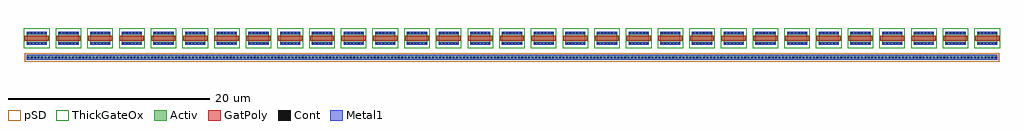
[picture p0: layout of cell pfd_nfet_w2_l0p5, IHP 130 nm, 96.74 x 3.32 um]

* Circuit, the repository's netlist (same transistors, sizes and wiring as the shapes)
* extracted by klt extract --deck sg13cmos5l

* cell pfd_nfet_w2_l0p5
* pin vsubs
.SUBCKT pfd_nfet_w2_l0p5 vsubs
* device instance $1 r0 *1 1.89,3.11 nfet
X$1 \$64 \$2 \$3 vsubs sg13_hv_nmos L=0.5U W=2U AS=0.8P AD=0.8P PS=4.8U PD=4.8U
* device instance $2 r0 *1 5.03,3.11 nfet
X$2 \$65 \$4 \$5 vsubs sg13_hv_nmos L=0.5U W=2U AS=0.8P AD=0.8P PS=4.8U PD=4.8U
* device instance $3 r0 *1 8.17,3.11 nfet
X$3 \$66 \$6 \$7 vsubs sg13_hv_nmos L=0.5U W=2U AS=0.8P AD=0.8P PS=4.8U PD=4.8U
* device instance $4 r0 *1 11.31,3.11 nfet
X$4 \$67 \$8 \$9 vsubs sg13_hv_nmos L=0.5U W=2U AS=0.8P AD=0.8P PS=4.8U PD=4.8U
* device instance $5 r0 *1 14.45,3.11 nfet
X$5 \$68 \$10 \$11 vsubs sg13_hv_nmos L=0.5U W=2U AS=0.8P AD=0.8P PS=4.8U
+ PD=4.8U
* device instance $6 r0 *1 17.59,3.11 nfet
X$6 \$69 \$12 \$13 vsubs sg13_hv_nmos L=0.5U W=2U AS=0.8P AD=0.8P PS=4.8U
+ PD=4.8U
* device instance $7 r0 *1 20.73,3.11 nfet
X$7 \$70 \$14 \$15 vsubs sg13_hv_nmos L=0.5U W=2U AS=0.8P AD=0.8P PS=4.8U
+ PD=4.8U
* device instance $8 r0 *1 23.87,3.11 nfet
X$8 \$71 \$16 \$17 vsubs sg13_hv_nmos L=0.5U W=2U AS=0.8P AD=0.8P PS=4.8U
+ PD=4.8U
* device instance $9 r0 *1 27.01,3.11 nfet
X$9 \$72 \$18 \$19 vsubs sg13_hv_nmos L=0.5U W=2U AS=0.8P AD=0.8P PS=4.8U
+ PD=4.8U
* device instance $10 r0 *1 30.15,3.11 nfet
X$10 \$73 \$20 \$21 vsubs sg13_hv_nmos L=0.5U W=2U AS=0.8P AD=0.8P PS=4.8U
+ PD=4.8U
* device instance $11 r0 *1 33.29,3.11 nfet
X$11 \$74 \$22 \$23 vsubs sg13_hv_nmos L=0.5U W=2U AS=0.8P AD=0.8P PS=4.8U
+ PD=4.8U
* device instance $12 r0 *1 36.43,3.11 nfet
X$12 \$75 \$24 \$25 vsubs sg13_hv_nmos L=0.5U W=2U AS=0.8P AD=0.8P PS=4.8U
+ PD=4.8U
* device instance $13 r0 *1 39.57,3.11 nfet
X$13 \$76 \$26 \$27 vsubs sg13_hv_nmos L=0.5U W=2U AS=0.8P AD=0.8P PS=4.8U
+ PD=4.8U
* device instance $14 r0 *1 42.71,3.11 nfet
X$14 \$77 \$28 \$29 vsubs sg13_hv_nmos L=0.5U W=2U AS=0.8P AD=0.8P PS=4.8U
+ PD=4.8U
* device instance $15 r0 *1 45.85,3.11 nfet
X$15 \$78 \$30 \$31 vsubs sg13_hv_nmos L=0.5U W=2U AS=0.8P AD=0.8P PS=4.8U
+ PD=4.8U
* device instance $16 r0 *1 48.99,3.11 nfet
X$16 \$79 \$32 \$33 vsubs sg13_hv_nmos L=0.5U W=2U AS=0.8P AD=0.8P PS=4.8U
+ PD=4.8U
* device instance $17 r0 *1 52.13,3.11 nfet
X$17 \$80 \$34 \$35 vsubs sg13_hv_nmos L=0.5U W=2U AS=0.8P AD=0.8P PS=4.8U
+ PD=4.8U
* device instance $18 r0 *1 55.27,3.11 nfet
X$18 \$81 \$36 \$37 vsubs sg13_hv_nmos L=0.5U W=2U AS=0.8P AD=0.8P PS=4.8U
+ PD=4.8U
* device instance $19 r0 *1 58.41,3.11 nfet
X$19 \$82 \$38 \$39 vsubs sg13_hv_nmos L=0.5U W=2U AS=0.8P AD=0.8P PS=4.8U
+ PD=4.8U
* device instance $20 r0 *1 61.55,3.11 nfet
X$20 \$83 \$40 \$41 vsubs sg13_hv_nmos L=0.5U W=2U AS=0.8P AD=0.8P PS=4.8U
+ PD=4.8U
* device instance $21 r0 *1 64.69,3.11 nfet
X$21 \$84 \$42 \$43 vsubs sg13_hv_nmos L=0.5U W=2U AS=0.8P AD=0.8P PS=4.8U
+ PD=4.8U
* device instance $22 r0 *1 67.83,3.11 nfet
X$22 \$85 \$44 \$45 vsubs sg13_hv_nmos L=0.5U W=2U AS=0.8P AD=0.8P PS=4.8U
+ PD=4.8U
* device instance $23 r0 *1 70.97,3.11 nfet
X$23 \$86 \$46 \$47 vsubs sg13_hv_nmos L=0.5U W=2U AS=0.8P AD=0.8P PS=4.8U
+ PD=4.8U
* device instance $24 r0 *1 74.11,3.11 nfet
X$24 \$87 \$48 \$49 vsubs sg13_hv_nmos L=0.5U W=2U AS=0.8P AD=0.8P PS=4.8U
+ PD=4.8U
* device instance $25 r0 *1 77.25,3.11 nfet
X$25 \$88 \$50 \$51 vsubs sg13_hv_nmos L=0.5U W=2U AS=0.8P AD=0.8P PS=4.8U
+ PD=4.8U
* device instance $26 r0 *1 80.39,3.11 nfet
X$26 \$89 \$52 \$53 vsubs sg13_hv_nmos L=0.5U W=2U AS=0.8P AD=0.8P PS=4.8U
+ PD=4.8U
* device instance $27 r0 *1 83.53,3.11 nfet
X$27 \$90 \$54 \$55 vsubs sg13_hv_nmos L=0.5U W=2U AS=0.8P AD=0.8P PS=4.8U
+ PD=4.8U
* device instance $28 r0 *1 86.67,3.11 nfet
X$28 \$91 \$56 \$57 vsubs sg13_hv_nmos L=0.5U W=2U AS=0.8P AD=0.8P PS=4.8U
+ PD=4.8U
* device instance $29 r0 *1 89.81,3.11 nfet
X$29 \$92 \$58 \$59 vsubs sg13_hv_nmos L=0.5U W=2U AS=0.8P AD=0.8P PS=4.8U
+ PD=4.8U
* device instance $30 r0 *1 92.95,3.11 nfet
X$30 \$93 \$60 \$61 vsubs sg13_hv_nmos L=0.5U W=2U AS=0.8P AD=0.8P PS=4.8U
+ PD=4.8U
* device instance $31 r0 *1 96.09,3.11 nfet
X$31 \$94 \$62 \$63 vsubs sg13_hv_nmos L=0.5U W=2U AS=0.8P AD=0.8P PS=4.8U
+ PD=4.8U
.ENDS pfd_nfet_w2_l0p5

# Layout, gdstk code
import gdstk
lib = gdstk.Library(unit=1e-6, precision=1e-09)
def R(c, l, rs):  # rectangles x0, y0, x1, y1
    for r in rs: c.add(gdstk.rectangle(r[:2], r[2:], *l))
def A(c, l, x, y, w, h, nx, ny, dx, dy):  # array of equal rectangles
    R(c, l, [(x+i*dx, y+j*dy, x+i*dx+w, y+j*dy+h) for i in range(nx) for j in range(ny)])
Activ = (1, 0)
GatPoly = (5, 0)
Cont = (6, 0)
Metal1 = (8, 0)
pSD = (14, 0)
ThickGateOx = (44, 0)

pfd_nfet_w2_l0p5 = lib.new_cell('pfd_nfet_w2_l0p5')
A(pfd_nfet_w2_l0p5, Activ, 0.89, 2.46, 2, 1.3, 31, 1, 3.14, 0)
R(pfd_nfet_w2_l0p5, Activ, [(0.89,0.96,97.09,1.46)])
A(pfd_nfet_w2_l0p5, GatPoly, 0.71, 2.86, 2.36, 0.5, 31, 1, 3.14, 0)
A(pfd_nfet_w2_l0p5, Cont, 0.97, 1.13, 0.16, 0.16, 283, 1, 0.34, 0)
A(pfd_nfet_w2_l0p5, Cont, 0.96, 2.53, 0.16, 0.16, 6, 2, 0.34, 1)
A(pfd_nfet_w2_l0p5, Cont, 4.1, 2.53, 0.16, 0.16, 6, 2, 0.34, 1)
A(pfd_nfet_w2_l0p5, Cont, 7.24, 2.53, 0.16, 0.16, 6, 2, 0.34, 1)
A(pfd_nfet_w2_l0p5, Cont, 10.38, 2.53, 0.16, 0.16, 6, 2, 0.34, 1)
A(pfd_nfet_w2_l0p5, Cont, 13.52, 2.53, 0.16, 0.16, 6, 2, 0.34, 1)
A(pfd_nfet_w2_l0p5, Cont, 16.66, 2.53, 0.16, 0.16, 6, 2, 0.34, 1)
A(pfd_nfet_w2_l0p5, Cont, 19.8, 2.53, 0.16, 0.16, 6, 2, 0.34, 1)
A(pfd_nfet_w2_l0p5, Cont, 22.94, 2.53, 0.16, 0.16, 6, 2, 0.34, 1)
A(pfd_nfet_w2_l0p5, Cont, 26.08, 2.53, 0.16, 0.16, 6, 2, 0.34, 1)
A(pfd_nfet_w2_l0p5, Cont, 29.22, 2.53, 0.16, 0.16, 6, 2, 0.34, 1)
A(pfd_nfet_w2_l0p5, Cont, 32.36, 2.53, 0.16, 0.16, 6, 2, 0.34, 1)
A(pfd_nfet_w2_l0p5, Cont, 35.5, 2.53, 0.16, 0.16, 6, 2, 0.34, 1)
A(pfd_nfet_w2_l0p5, Cont, 38.64, 2.53, 0.16, 0.16, 6, 2, 0.34, 1)
A(pfd_nfet_w2_l0p5, Cont, 41.78, 2.53, 0.16, 0.16, 6, 2, 0.34, 1)
A(pfd_nfet_w2_l0p5, Cont, 44.92, 2.53, 0.16, 0.16, 6, 2, 0.34, 1)
A(pfd_nfet_w2_l0p5, Cont, 48.06, 2.53, 0.16, 0.16, 6, 2, 0.34, 1)
A(pfd_nfet_w2_l0p5, Cont, 51.2, 2.53, 0.16, 0.16, 6, 2, 0.34, 1)
A(pfd_nfet_w2_l0p5, Cont, 54.34, 2.53, 0.16, 0.16, 6, 2, 0.34, 1)
A(pfd_nfet_w2_l0p5, Cont, 57.48, 2.53, 0.16, 0.16, 6, 2, 0.34, 1)
A(pfd_nfet_w2_l0p5, Cont, 60.62, 2.53, 0.16, 0.16, 6, 2, 0.34, 1)
A(pfd_nfet_w2_l0p5, Cont, 63.76, 2.53, 0.16, 0.16, 6, 2, 0.34, 1)
A(pfd_nfet_w2_l0p5, Cont, 66.9, 2.53, 0.16, 0.16, 6, 2, 0.34, 1)
A(pfd_nfet_w2_l0p5, Cont, 70.04, 2.53, 0.16, 0.16, 6, 2, 0.34, 1)
A(pfd_nfet_w2_l0p5, Cont, 73.18, 2.53, 0.16, 0.16, 6, 2, 0.34, 1)
A(pfd_nfet_w2_l0p5, Cont, 76.32, 2.53, 0.16, 0.16, 6, 2, 0.34, 1)
A(pfd_nfet_w2_l0p5, Cont, 79.46, 2.53, 0.16, 0.16, 6, 2, 0.34, 1)
A(pfd_nfet_w2_l0p5, Cont, 82.6, 2.53, 0.16, 0.16, 6, 2, 0.34, 1)
A(pfd_nfet_w2_l0p5, Cont, 85.74, 2.53, 0.16, 0.16, 6, 2, 0.34, 1)
A(pfd_nfet_w2_l0p5, Cont, 88.88, 2.53, 0.16, 0.16, 6, 2, 0.34, 1)
A(pfd_nfet_w2_l0p5, Cont, 92.02, 2.53, 0.16, 0.16, 6, 2, 0.34, 1)
A(pfd_nfet_w2_l0p5, Cont, 95.16, 2.53, 0.16, 0.16, 6, 2, 0.34, 1)
A(pfd_nfet_w2_l0p5, Metal1, 0.89, 2.46, 2, 0.26, 31, 2, 3.14, 1.04)
R(pfd_nfet_w2_l0p5, Metal1, [(0.89,0.96,97.09,1.46)])
R(pfd_nfet_w2_l0p5, pSD, [(0.71,0.78,97.27,1.64)])
A(pfd_nfet_w2_l0p5, ThickGateOx, 0.62, 2.12, 2.54, 1.98, 31, 1, 3.14, 0)

lib.write_gds('pfd_nfet_w2_l0p5.gds')
